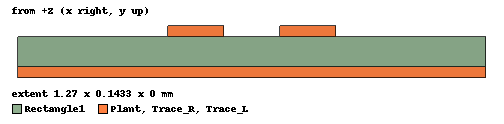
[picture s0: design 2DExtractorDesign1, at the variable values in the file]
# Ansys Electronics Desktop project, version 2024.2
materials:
  vacuum: permittivity=1
  copper: permeability=0.999991 conductivity=58000000
  FR4_epoxy: permittivity=4.4 dielectric_loss_tangent=0.02
  cyanate_ester: permittivity=3.8
  Die_38: permittivity=3.8
  air: permittivity=1.0006 permeability=1.0000004

design 2DExtractorDesign1 (2D Extractor, Open, model units mm)
options: LumpedLength=1in RiseTime=1ns DistribLengthUnits=in Calculate_Lossy_Dielectrics
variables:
  trace_w = 6mil
  core_w = 50mil
  core_h = 3.24mil
  trace_h = 1.2mil
  spec = 6mil
  Plant_h = 1.2mil
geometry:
  Trace_R [copper] = rectangle(corner=(spec/2, core_h+Plant_h, 0mm), x_size=trace_w, y_size=trace_h)
  Trace_L [copper] = rectangle(corner=(-(spec/2+trace_w ), core_h+Plant_h, 0mm), x_size=trace_w, y_size=trace_h)
  Plant [copper] = rectangle(corner=(-core_w/2, 0mm, 0mm), x_size=core_w, y_size=Plant_h)
  Rectangle1 [Die_38] = rectangle(corner=(-core_w/2, Plant_h, 0mm), x_size=core_w, y_size=core_h)
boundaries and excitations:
  Trace_R: SignalLine Objects=Trace_R SolveOption=SolveInside Thickness=-1000mm
  Trace_L: SignalLine Objects=Trace_L SolveOption=SolveInside Thickness=-1000mm
  Plant: ReferenceGround Objects=Plant SolveOption=SolveInside Thickness=-1000mm
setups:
  Setup1: 2DMatrix AdaptiveFreq=100MHz SaveFields CGDataBlock{MaxPass=50 MinPass=1 MinConvPass=2 PerError=0.5 PerRefine=30 Included PerErrorParamConv=1} RLDataBlock{MaxPass=50 MinPass=1 MinConvPass=2 PerError=0.5 PerRefine=30 Included PerErrorParamConv=1}
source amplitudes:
  Trace_R: CG Fields 1V 0deg
  Trace_L: CG Fields 0V 0deg
  Trace_R: RL Fields 1A 0deg
  Trace_L: RL Fields 0A 0deg
